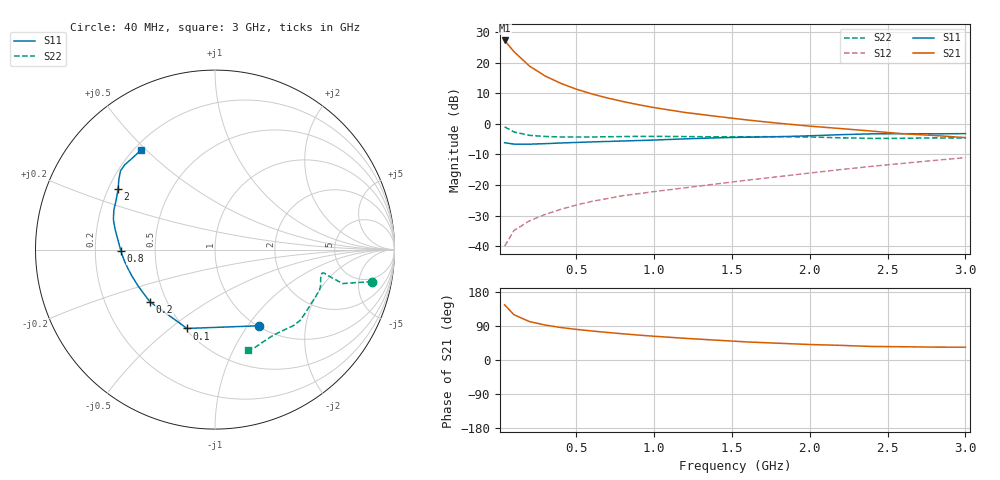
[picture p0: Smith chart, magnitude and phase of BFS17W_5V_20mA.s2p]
! Filename:  BFS17WE.S2P  Version:  4.0
! Philips part #: BFS17W  Date: Jun 1994
! Bias condition: Vce=5V, Ic=20mA
#  MHz  S  MA  R  50
! Freq  S11  S21  S12  S22  !GUM [dB]
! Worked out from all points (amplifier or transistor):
!   21 points, 40 MHz to 3 GHz, reference 50 ohm
!   highest |S21| = 27.3 dB at 40 MHz (marker M1)
!   |S21| within 3 dB of that: start of sweep to 89.22 MHz
!   unconditionally stable (mu >= 1): 264.4 MHz to 2.078 GHz
!   at 300 MHz: K = 1.06, MAG = 21.1 dB, |S12| = -29.6 dB
!   at 1 GHz: K = 1.24, MAG = 10.8 dB, |S12| = -22.2 dB
!   at 3 GHz: K = 0.97, MSG = 3.3 dB, |S12| = -11.1 dB
!   S11 on the Smith chart (normalised r, x): 40 MHz: 1.02, -1.14; 100 MHz: 0.51, -0.57; 200 MHz: 0.40, -0.30; 800 MHz: 0.31, -0.01; 2 GHz: 0.24, +0.27; 3 GHz: 0.23, +0.48
40  0.491 -59.8  23.06 145.6  0.01 69.3  0.893 -11.5
100  0.466 -109.5  15.14 119.4  0.018 58.7  0.736 -14.9
200  0.465 -141.4  8.783 101.4  0.026 59.6  0.648 -13.0
300  0.474 -154.7  6.06 92.3  0.033 62.1  0.621 -12.1
400  0.486 -162.5  4.599 85.8  0.04 65.0  0.611 -12.4
500  0.496 -167.6  3.689 80.8  0.047 67.1  0.608 -13.6
600  0.506 -171.8  3.085 76.6  0.054 69.0  0.61 -15.1
700  0.515 -175.5  2.646 72.7  0.06 70.5  0.614 -16.6
800  0.524 -179.0  2.315 69.1  0.067 71.9  0.62 -18.2
900  0.533 177.6  2.054 65.7  0.072 73.5  0.623 -19.7
1000  0.543 174.4  1.843 62.7  0.078 75.2  0.624 -21.3
1200  0.568 168.5  1.533 57.2  0.09 78.7  0.619 -25.1
1400  0.59 163.6  1.326 52.3  0.104 82.3  0.614 -30.0
1600  0.605 158.7  1.155 47.6  0.12 85.0  0.615 -35.2
1800  0.616 153.4  1.022 44.2  0.137 87.8  0.617 -39.7
2000  0.637 148.0  0.917 40.9  0.157 89.8  0.609 -44.0
2200  0.665 143.6  0.836 38.6  0.179 91.1  0.591 -49.2
2400  0.686 140.1  0.76 35.7  0.202 91.8  0.577 -55.8
2600  0.69 136.8  0.687 35.0  0.226 91.6  0.58 -62.6
2800  0.687 132.1  0.645 34.0  0.252 91.3  0.589 -67.9
3000  0.691 126.7  0.595 33.8  0.28 90.8  0.586 -72.0
